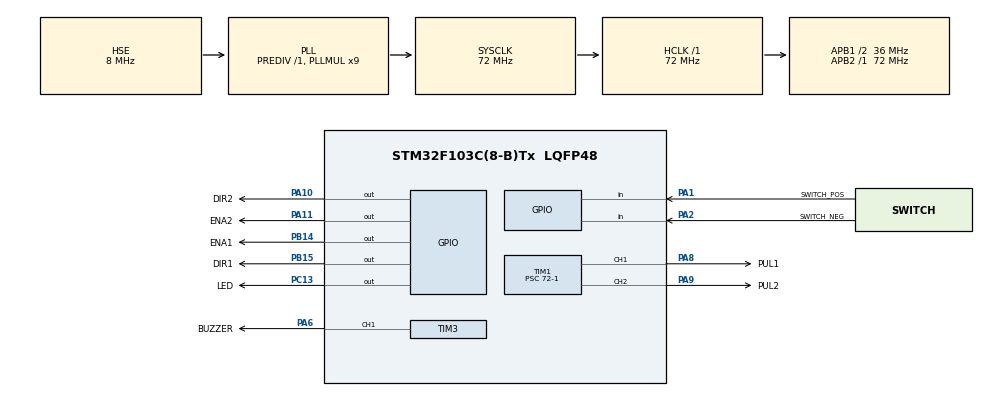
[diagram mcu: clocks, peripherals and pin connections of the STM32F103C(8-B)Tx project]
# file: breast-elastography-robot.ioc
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Mcu.Family=STM32F1
Mcu.Name=STM32F103C(8-B)Tx
Mcu.Package=LQFP48
NVIC.PriorityGroup=NVIC_PRIORITYGROUP_4
NVIC.TIM2_IRQn=true\:0\:0\:false\:false\:true\:true\:true\:true
NVIC.TIM4_IRQn=true\:15\:0\:false\:false\:true\:false\:true\:true
NVIC.TimeBase=TIM4_IRQn
NVIC.TimeBaseIP=TIM4
PA1.GPIO_Label=SWITCH_POS
PA1.GPIO_PuPd=GPIO_PULLDOWN
PA1.Signal=GPIO_Input
PA10.GPIO_Label=DIR2
PA10.Signal=GPIO_Output
PA11.GPIO_Label=ENA2
PA11.Signal=GPIO_Output
PA13.Mode=Serial_Wire
PA13.Signal=SYS_JTMS-SWDIO
PA14.Mode=Serial_Wire
PA14.Signal=SYS_JTCK-SWCLK
PA2.GPIO_Label=SWITCH_NEG
PA2.GPIO_PuPd=GPIO_PULLDOWN
PA2.Signal=GPIO_Input
PA6.GPIO_Label=BUZZER
PA6.Signal=S_TIM3_CH1
PA8.GPIO_Label=PUL1
PA8.Signal=S_TIM1_CH1
PA9.GPIO_Label=PUL2
PA9.Signal=S_TIM1_CH2
PB14.GPIO_Label=ENA1
PB14.Signal=GPIO_Output
PB15.GPIO_Label=DIR1
PB15.Signal=GPIO_Output
PC13-TAMPER-RTC.GPIO_Label=LED
PC13-TAMPER-RTC.GPIO_Speed=GPIO_SPEED_FREQ_LOW
PC13-TAMPER-RTC.Signal=GPIO_Output
PD0-OSC_IN.Mode=HSE-External-Oscillator
PD0-OSC_IN.Signal=RCC_OSC_IN
PD1-OSC_OUT.Mode=HSE-External-Oscillator
PD1-OSC_OUT.Signal=RCC_OSC_OUT
ProjectManager.HeapSize=0x200
ProjectManager.StackSize=0x400
ProjectManager.TargetToolchain=STM32CubeIDE
RCC.ADCPresc=RCC_ADCPCLK2_DIV6
RCC.AHBFreq_Value=72000000
RCC.APB1CLKDivider=RCC_HCLK_DIV2
RCC.APB1Freq_Value=36000000
RCC.APB1TimFreq_Value=72000000
RCC.APB2Freq_Value=72000000
RCC.APB2TimFreq_Value=72000000
RCC.HCLKFreq_Value=72000000
RCC.PLLMUL=RCC_PLL_MUL9
RCC.PLLSourceVirtual=RCC_PLLSOURCE_HSE
RCC.RTCClockSelection=RCC_RTCCLKSOURCE_LSE
RCC.SYSCLKFreq_VALUE=72000000
RCC.SYSCLKSource=RCC_SYSCLKSOURCE_PLLCLK
RCC.USBFreq_Value=48000000
RCC.USBPrescaler=RCC_USBCLKSOURCE_PLL_DIV1_5
SH.S_TIM1_CH1.0=TIM1_CH1,PWM Generation1 CH1
SH.S_TIM1_CH2.0=TIM1_CH2,PWM Generation2 CH2
SH.S_TIM3_CH1.0=TIM3_CH1,PWM Generation1 CH1
TIM1.Channel-PWM\ Generation1\ CH1=TIM_CHANNEL_1
TIM1.Channel-PWM\ Generation2\ CH2=TIM_CHANNEL_2
TIM1.Period=5000 - 1
TIM1.Prescaler=72-1
TIM1.Pulse-PWM\ Generation1\ CH1=500
TIM1.Pulse-PWM\ Generation2\ CH2=500
TIM2.Period=10000 - 1
TIM2.Prescaler=7200 - 1
TIM3.Channel-PWM\ Generation1\ CH1=TIM_CHANNEL_1
VP_SYS_VS_tim4.Mode=TIM4
VP_TIM1_VS_ClockSourceINT.Mode=Internal
VP_TIM2_VS_ClockSourceINT.Mode=Internal
board=custom

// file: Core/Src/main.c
/* USER CODE BEGIN Header */
/**
 ******************************************************************************
 * @file           : main.c
 * @brief          : Main program body
 ******************************************************************************
 * @attention
 *
 * Copyright (c) 2022 STMicroelectronics.
 * All rights reserved.
 *
 * This software is licensed under terms that can be found in the LICENSE file
 * in the root directory of this software component.
 * If no LICENSE file comes with this software, it is provided AS-IS.
 *
 ******************************************************************************
 */
/* USER CODE END Header */
#include "main.h"
#include "tim.h"
#include "gpio.h"

/* USER CODE BEGIN Includes */
#include "robot.h"
/* USER CODE END Includes */

void SystemClock_Config(void);

int main(void)
{

  /* MCU Configuration--------------------------------------------------------*/

  /* Reset of all peripherals, Initializes the Flash interface and the Systick. */
  HAL_Init();

  /* Configure the system clock */
  SystemClock_Config();

  /* Initialize all configured peripherals */
  MX_GPIO_Init();
  MX_TIM1_Init();
  MX_TIM3_Init();
  MX_TIM2_Init();
  /* USER CODE BEGIN 2 */

  HAL_TIM_Base_Start_IT(&htim2);
  Stepper_Init();
  /* USER CODE END 2 */

  /* Infinite loop */
  while (1)
  {

    /* USER CODE BEGIN 3 */
    if(SWITCH_POS)
    {
      DIR_CW;
      MOT_ON;
      PWM_START;
    }
    else if (SWITCH_NEG)
    {
      DIR_CCW;
      MOT_ON;
      PWM_START;
    }
    else
    {
      MOT_OFF;
      PWM_STOP;
    }
  }
  /* USER CODE END 3 */
}

void SystemClock_Config(void)
{
  RCC_OscInitTypeDef RCC_OscInitStruct = {0};
  RCC_ClkInitTypeDef RCC_ClkInitStruct = {0};

  /** Initializes the RCC Oscillators according to the specified parameters
  * in the RCC_OscInitTypeDef structure.
  */
  RCC_OscInitStruct.OscillatorType = RCC_OSCILLATORTYPE_HSE;
  RCC_OscInitStruct.HSEState = RCC_HSE_ON;
  RCC_OscInitStruct.HSEPredivValue = RCC_HSE_PREDIV_DIV1;
  RCC_OscInitStruct.HSIState = RCC_HSI_ON;
  RCC_OscInitStruct.PLL.PLLState = RCC_PLL_ON;
  RCC_OscInitStruct.PLL.PLLSource = RCC_PLLSOURCE_HSE;
  RCC_OscInitStruct.PLL.PLLMUL = RCC_PLL_MUL9;
  if (HAL_RCC_OscConfig(&RCC_OscInitStruct) != HAL_OK)
  {
    Error_Handler();
  }

  /** Initializes the CPU, AHB and APB buses clocks
  */
  RCC_ClkInitStruct.ClockType = RCC_CLOCKTYPE_HCLK|RCC_CLOCKTYPE_SYSCLK
                              |RCC_CLOCKTYPE_PCLK1|RCC_CLOCKTYPE_PCLK2;
  RCC_ClkInitStruct.SYSCLKSource = RCC_SYSCLKSOURCE_PLLCLK;
  RCC_ClkInitStruct.AHBCLKDivider = RCC_SYSCLK_DIV1;
  RCC_ClkInitStruct.APB1CLKDivider = RCC_HCLK_DIV2;
  RCC_ClkInitStruct.APB2CLKDivider = RCC_HCLK_DIV1;

  if (HAL_RCC_ClockConfig(&RCC_ClkInitStruct, FLASH_LATENCY_2) != HAL_OK)
  {
    Error_Handler();
  }
}

void HAL_TIM_PeriodElapsedCallback(TIM_HandleTypeDef *htim)
{
  /* USER CODE BEGIN Callback 0 */
  if (htim == &htim1)
  {
    // step_ISR();
  }
  /* USER CODE END Callback 0 */
  if (htim->Instance == TIM4) {
    HAL_IncTick();
  }
}

void Error_Handler(void)
{
  __disable_irq();
  while (1)
  {
  }
}
